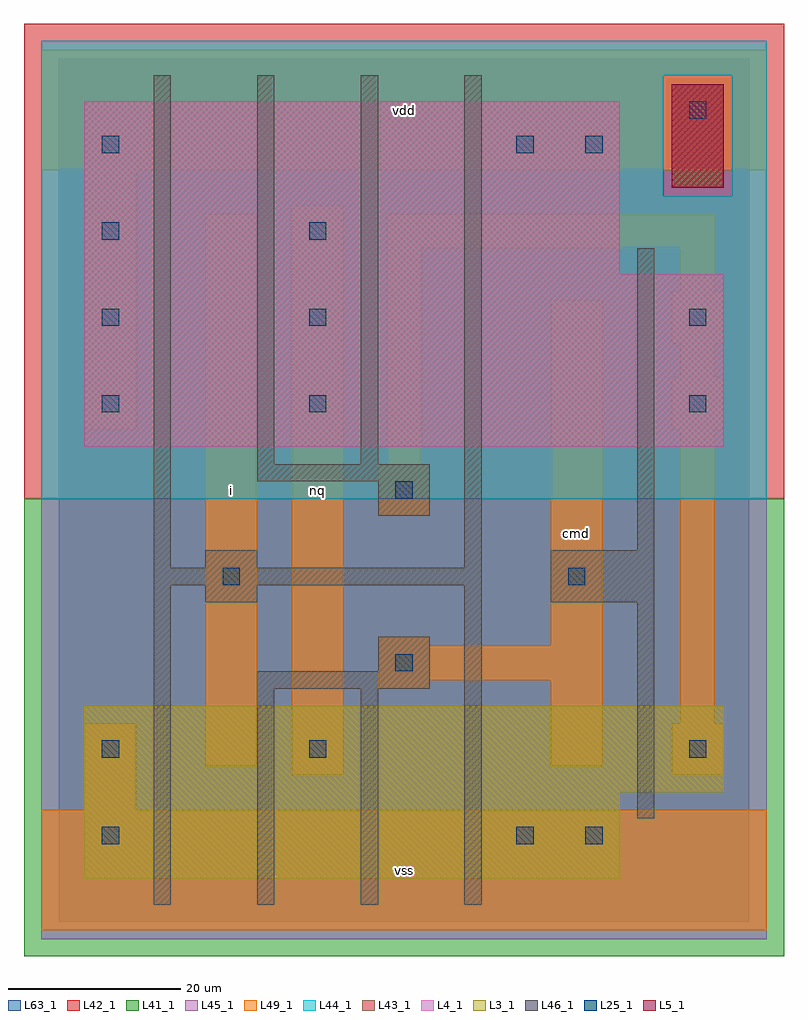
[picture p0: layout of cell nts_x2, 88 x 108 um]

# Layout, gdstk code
import gdstk
lib = gdstk.Library(unit=1e-6, precision=1e-09)
def R(c, l, rs):  # rectangles x0, y0, x1, y1
    for r in rs: c.add(gdstk.rectangle(r[:2], r[2:], *l))
def A(c, l, x, y, w, h, nx, ny, dx, dy):  # array of equal rectangles
    R(c, l, [(x+i*dx, y+j*dy, x+i*dx+w, y+j*dy+h) for i in range(nx) for j in range(ny)])
L3_1 = (3, 1)
L4_1 = (4, 1)
L5_1 = (5, 1)
L25_1 = (25, 1)
L41_1 = (41, 1)
L42_1 = (42, 1)
L43_1 = (43, 1)
L44_1 = (44, 1)
L45_1 = (45, 1)
L46_1 = (46, 1)
L49_1 = (49, 1)
L63_1 = (63, 1)

nts_x2 = lib.new_cell('nts_x2')
R(nts_x2, L3_1, [(3,5,65,15), (3,15,77,25)])
R(nts_x2, L4_1, [(3,55,77,75), (3,75,65,95)])
R(nts_x2, L5_1, [(71,85,77,97)])
A(nts_x2, L25_1, 5, 59, 2, 2, 1, 4, 0, 10)
A(nts_x2, L25_1, 29, 59, 2, 2, 1, 3, 0, 10)
R(nts_x2, L25_1, [(5,9,7,11), (53,9,55,11), (61,9,63,11), (5,19,7,21), (29,19,31,21), (73,19,75,21), (39,29,41,31), (19,39,21,41), (59,39,61,41), (39,49,41,51), (73,59,75,61), (73,69,75,71), (53,89,55,91), (61,89,63,91), (73,93,75,95)])
R(nts_x2, L41_1, [(-4,-4,84,49)])
R(nts_x2, L42_1, [(-4,49,84,104)])
R(nts_x2, L43_1, [(3,5,65,15), (3,15,77,25), (3,55,77,75), (3,75,65,95), (71,85,77,97)])
R(nts_x2, L44_1, [(-2,49,82,84), (-2,84,70,98), (78,84,82,98), (-2,98,82,102)])
R(nts_x2, L45_1, [(-2,-2,82,49), (70,84,78,98)])
R(nts_x2, L46_1, [(11,2,13,39), (23,2,25,27), (35,2,37,27), (47,2,49,39), (67,12,69,37), (23,27,43,29), (37,29,43,33), (17,37,23,39), (57,37,69,43), (11,39,49,41), (11,41,13,98), (17,41,23,43), (47,41,49,98), (67,43,69,78), (37,47,43,51), (23,51,43,53), (23,53,25,98), (35,53,37,98)])
R(nts_x2, L49_1, [(-2,-1,82,13), (3,13,9,23), (27,17,33,83), (71,17,77,23), (17,18,23,82), (57,18,63,28), (72,23,76,57), (37,27,43,28), (37,28,63,32), (37,32,43,33), (57,32,63,72), (37,47,43,53), (38,53,42,78), (3,57,9,87), (71,57,77,63), (72,63,76,67), (71,67,77,73), (72,73,76,78), (38,78,76,82), (-2,87,82,101)])
R(nts_x2, L63_1, [(0,0,80,100)])
nts_x2.add(gdstk.Label('nq', (30,50), layer=49, texttype=1))
nts_x2.add(gdstk.Label('nq', (30,50), layer=49, texttype=1))
nts_x2.add(gdstk.Label('i', (20,50), layer=49, texttype=1))
nts_x2.add(gdstk.Label('i', (20,50), layer=49, texttype=1))
nts_x2.add(gdstk.Label('vss', (40,6), layer=49, texttype=1))
nts_x2.add(gdstk.Label('vss', (40,6), layer=49, texttype=1))
nts_x2.add(gdstk.Label('cmd', (60,45), layer=49, texttype=1))
nts_x2.add(gdstk.Label('cmd', (60,45), layer=49, texttype=1))
nts_x2.add(gdstk.Label('vdd', (40,94), layer=49, texttype=1))
nts_x2.add(gdstk.Label('vdd', (40,94), layer=49, texttype=1))

lib.write_gds('nts_x2.gds')
